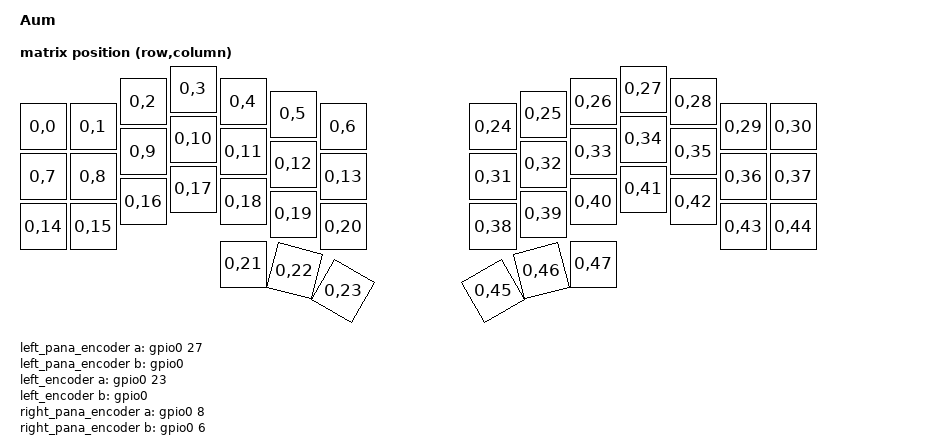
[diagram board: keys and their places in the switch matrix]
/*
* Copyright (c) 2020 The ZMK Contributors
*
* SPDX-License-Identifier: MIT
*/


/dts-v1/;
#include <nordic/nrf52840_qiaa.dtsi>
#include <dt-bindings/zmk/matrix_transform.h>
#include <physical_layouts.dtsi>


/ {
	model = "Aum";
	compatible = "lnatkvat,aum";

	chosen {
		zephyr,code-partition = &code_partition;
		zephyr,sram = &sram0;
		zephyr,flash = &flash0;
		// zephyr,console = &cdc_acm_uart;
	};

default_transform: keymap_transform_0 {
		compatible = "zmk,matrix-transform";
		columns = <48>;
		rows = <1>;
		map = <
			RC(0,0)  RC(0,1)  RC(0,2)  RC(0,3)  RC(0,4)  RC(0,5)  RC(0,6)  		RC(0,24) RC(0,25) RC(0,26) RC(0,27) RC(0,28) RC(0,29) RC(0,30)
			RC(0,7)  RC(0,8)  RC(0,9)  RC(0,10) RC(0,11) RC(0,12) RC(0,13) 		RC(0,31) RC(0,32) RC(0,33) RC(0,34) RC(0,35) RC(0,36) RC(0,37)
			RC(0,14) RC(0,15) RC(0,16) RC(0,17) RC(0,18) RC(0,19) RC(0,20) 		RC(0,38) RC(0,39) RC(0,40) RC(0,41) RC(0,42) RC(0,43) RC(0,44)
																					RC(0,21) RC(0,22) RC(0,23)		RC(0,45) RC(0,46) RC(0,47)                                    
		>;
	};

 matrix_physical_layout: matrix_physical_layout {
 	 compatible = "zmk,physical-layout";
 	 display-name = "direct wiring";
 	
	 transform = <&default_transform>;

 keys  //                     w   h    x    y     rot    rx    ry
            = <&key_physical_attrs 100 100    0   75       0     0     0>
            , <&key_physical_attrs 100 100  100   75       0     0     0>
            , <&key_physical_attrs 100 100  200   25       0     0     0>
            , <&key_physical_attrs 100 100  300    0       0     0     0>
            , <&key_physical_attrs 100 100  400   25       0     0     0>
            , <&key_physical_attrs 100 100  500   50       0     0     0>
            , <&key_physical_attrs 100 100  600   75       0     0     0>
            , <&key_physical_attrs 100 100  900   75       0     0     0>
            , <&key_physical_attrs 100 100 1000   50       0     0     0>
            , <&key_physical_attrs 100 100 1100   25       0     0     0>
            , <&key_physical_attrs 100 100 1200    0       0     0     0>
            , <&key_physical_attrs 100 100 1300   25       0     0     0>
            , <&key_physical_attrs 100 100 1400   75       0     0     0>
            , <&key_physical_attrs 100 100 1500   75       0     0     0>
            , <&key_physical_attrs 100 100    0  175       0     0     0>
            , <&key_physical_attrs 100 100  100  175       0     0     0>
            , <&key_physical_attrs 100 100  200  125       0     0     0>
            , <&key_physical_attrs 100 100  300  100       0     0     0>
            , <&key_physical_attrs 100 100  400  125       0     0     0>
            , <&key_physical_attrs 100 100  500  150       0     0     0>
            , <&key_physical_attrs 100 100  600  175       0     0     0>
            , <&key_physical_attrs 100 100  900  175       0     0     0>
            , <&key_physical_attrs 100 100 1000  150       0     0     0>
            , <&key_physical_attrs 100 100 1100  125       0     0     0>
            , <&key_physical_attrs 100 100 1200  100       0     0     0>
            , <&key_physical_attrs 100 100 1300  125       0     0     0>
            , <&key_physical_attrs 100 100 1400  175       0     0     0>
            , <&key_physical_attrs 100 100 1500  175       0     0     0>
            , <&key_physical_attrs 100 100    0  275       0     0     0>
            , <&key_physical_attrs 100 100  100  275       0     0     0>
            , <&key_physical_attrs 100 100  200  225       0     0     0>
            , <&key_physical_attrs 100 100  300  200       0     0     0>
            , <&key_physical_attrs 100 100  400  225       0     0     0>
            , <&key_physical_attrs 100 100  500  250       0     0     0>
            , <&key_physical_attrs 100 100  600  275       0     0     0>
            , <&key_physical_attrs 100 100  900  275       0     0     0>
            , <&key_physical_attrs 100 100 1000  250       0     0     0>
            , <&key_physical_attrs 100 100 1100  225       0     0     0>
            , <&key_physical_attrs 100 100 1200  200       0     0     0>
            , <&key_physical_attrs 100 100 1300  225       0     0     0>
            , <&key_physical_attrs 100 100 1400  275       0     0     0>
            , <&key_physical_attrs 100 100 1500  275       0     0     0>
            , <&key_physical_attrs 100 100  400  350       0     0     0>
            , <&key_physical_attrs 100 100  400  350    1500   450   800>
            , <&key_physical_attrs 100 100  400  350    3000   450   800>
            , <&key_physical_attrs 100 100 1100  350 (-3000)  1150   800>
            , <&key_physical_attrs 100 100 1100  350 (-1500)  1150   800>
            , <&key_physical_attrs 100 100 1100  350       0     0     0>
            ;
    };

left_pana_encoder: encoder_left_pana {
        compatible = "alps,ec11";
        a-gpios = <&gpio0 27 (GPIO_ACTIVE_HIGH | GPIO_PULL_UP)>;
        b-gpios = <&gpio0 5(GPIO_ACTIVE_HIGH | GPIO_PULL_UP)>;
        status = "disabled";
        steps = <30>;
 };
left_encoder: encoder_left {
        compatible = "alps,ec11";
        a-gpios = <&gpio0 23 (GPIO_ACTIVE_HIGH | GPIO_PULL_UP)>;
        b-gpios = <&gpio0 5(GPIO_ACTIVE_HIGH | GPIO_PULL_UP)>;
        status = "disabled";
        steps = <30>;
 };
right_pana_encoder: encoder_right_pana {
        compatible = "alps,ec11";
        a-gpios = <&gpio0 8 (GPIO_ACTIVE_HIGH | GPIO_PULL_UP)>;
        b-gpios = <&gpio0 6 (GPIO_ACTIVE_HIGH | GPIO_PULL_UP)>;
        status = "disabled";
        steps = <30>;
 };
right_encoder: encoder_right {
        compatible = "alps,ec11";
        a-gpios = <&gpio1 11 (GPIO_ACTIVE_HIGH | GPIO_PULL_UP)>;
        b-gpios = <&gpio0 6 (GPIO_ACTIVE_HIGH | GPIO_PULL_UP)>;
        status = "disabled";
        steps = <15>;
 };
sensors: sensors {
        compatible = "zmk,keymap-sensors";
        sensors = <&left_encoder &right_encoder &left_pana_encoder &right_pana_encoder>;
        triggers-per-rotation = <15>;
    };
};

&adc {
	status = "okay";
};

&gpiote {
	status = "okay";
};

&gpio0 {
	status = "okay";
};

&gpio1 {
	status = "okay";
};



zephyr_udc0: &usbd {
    status = "okay";
};

&flash0 {
	/*
* For more information, see:
* http://docs.zephyrproject.org/latest/devices/dts/flash_partitions.html
*/
	partitions {
		compatible = "fixed-partitions";
		#address-cells = <1>;
		#size-cells = <1>;

		sd_partition: partition@0 {
			reg = <0x00000000 0x00026000>;
		};
		code_partition: partition@26000 {
			reg = <0x00026000 0x000c6000>;
		};

		/*
* The flash starting at 0x000ec000 and ending at
* 0x000f3fff is reserved for use by the application.
*/

		/*
* Storage partition will be used by FCB/LittleFS/NVS
* if enabled.
*/
		storage_partition: partition@ec000 {
			reg = <0x000ec000 0x00008000>;
		};

		boot_partition: partition@f4000 {
			reg = <0x000f4000 0x0000c000>;
		};
	};
};
